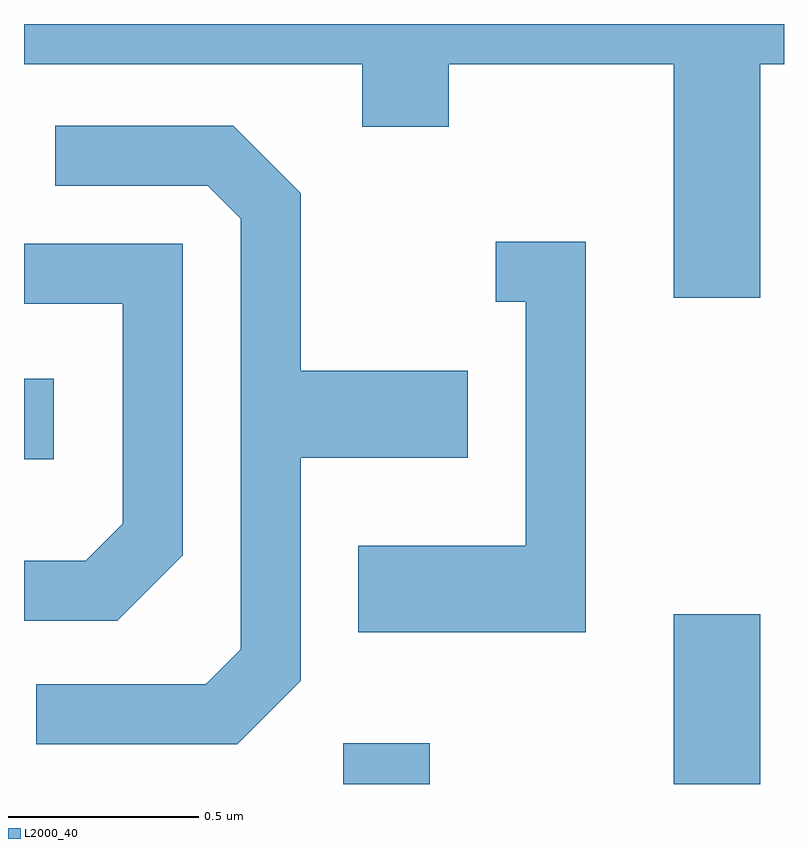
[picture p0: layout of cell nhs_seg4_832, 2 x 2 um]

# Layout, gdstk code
import gdstk
lib = gdstk.Library(unit=1e-6, precision=1e-09)
def R(c, l, rs):  # rectangles x0, y0, x1, y1
    for r in rs: c.add(gdstk.rectangle(r[:2], r[2:], *l))
def P(c, l, *ps):  # polygons
    for p in ps: c.add(gdstk.Polygon(p, *l))
L2000_40 = (2000, 40)

nhs_seg4_832 = lib.new_cell('nhs_seg4_832')
R(nhs_seg4_832, L2000_40, [(192.451,1263.982,192.679,1264.089), (193.321,1263.982,193.549,1264.429), (191.611,1264.836,191.689,1265.049)])
P(nhs_seg4_832, L2000_40, [(193.549,1265.876),(193.611,1265.876),(193.611,1265.982),(191.611,1265.982),(191.611,1265.876),(192.501,1265.876),(192.501,1265.711),(192.729,1265.711),(192.729,1265.876),(193.321,1265.876),(193.321,1265.261),(193.549,1265.261)],
  [(192.339,1264.254),(192.339,1264.841),(192.779,1264.841),(192.779,1265.069),(192.339,1265.069),(192.339,1265.537),(192.162,1265.714),(191.693,1265.714),(191.693,1265.556),(192.094,1265.556),(192.181,1265.469),(192.181,1264.337),(192.089,1264.244),(191.643,1264.244),(191.643,1264.086),(192.172,1264.086)],
  [(193.089,1265.409),(192.853,1265.409),(192.853,1265.251),(192.931,1265.251),(192.931,1264.609),(192.491,1264.609),(192.491,1264.381),(193.089,1264.381)],
  [(192.029,1264.584),(192.029,1265.404),(191.611,1265.404),(191.611,1265.246),(191.871,1265.246),(191.871,1264.667),(191.774,1264.569),(191.611,1264.569),(191.611,1264.411),(191.857,1264.411)])

lib.write_gds('nhs_seg4_832.gds')
